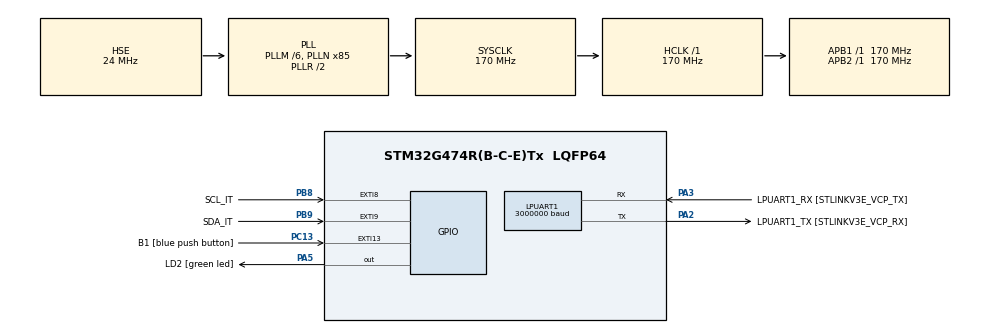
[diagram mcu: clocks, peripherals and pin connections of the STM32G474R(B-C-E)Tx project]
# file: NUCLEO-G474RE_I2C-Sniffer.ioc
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LPUART1.BaudRate=3000000
LPUART1.WordLength=UART_WORDLENGTH_8B
Mcu.Family=STM32G4
Mcu.Name=STM32G474R(B-C-E)Tx
Mcu.Package=LQFP64
NVIC.EXTI15_10_IRQn=true\:0\:0\:false\:false\:true\:true\:true\:true
NVIC.EXTI9_5_IRQn=true\:0\:0\:false\:false\:true\:true\:true\:true
NVIC.PriorityGroup=NVIC_PRIORITYGROUP_4
PA13.GPIO_Label=T_SWDIO
PA13.Mode=Trace_Asynchronous_SW
PA13.Signal=SYS_JTMS-SWDIO
PA14.GPIO_Label=T_SWCLK
PA14.Mode=Trace_Asynchronous_SW
PA14.Signal=SYS_JTCK-SWCLK
PA2.GPIO_Label=LPUART1_TX [STLINKV3E_VCP_RX]
PA2.Mode=Asynchronous
PA2.Signal=LPUART1_TX
PA3.GPIO_Label=LPUART1_RX [STLINKV3E_VCP_TX]
PA3.Mode=Asynchronous
PA3.Signal=LPUART1_RX
PA5.GPIO_Label=LD2 [green led]
PA5.Signal=GPIO_Output
PB3.GPIO_Label=T_SWO
PB3.Mode=Trace_Asynchronous_SW
PB3.Signal=SYS_JTDO-SWO
PB8-BOOT0.GPIO_Label=SCL_IT
PB8-BOOT0.Signal=GPXTI8
PB9.GPIO_Label=SDA_IT
PB9.GPIO_ModeDefaultEXTI=GPIO_MODE_IT_RISING_FALLING
PB9.Signal=GPXTI9
PC13.GPIO_Label=B1 [blue push button]
PC13.Signal=GPXTI13
PC14-OSC32_IN.Mode=LSE-External-Oscillator
PC14-OSC32_IN.Signal=RCC_OSC32_IN
PC15-OSC32_OUT.Mode=LSE-External-Oscillator
PC15-OSC32_OUT.Signal=RCC_OSC32_OUT
PF0-OSC_IN.Mode=HSE-External-Oscillator
PF0-OSC_IN.Signal=RCC_OSC_IN
PF1-OSC_OUT.Mode=HSE-External-Oscillator
PF1-OSC_OUT.Signal=RCC_OSC_OUT
ProjectManager.HeapSize=0x200
ProjectManager.StackSize=0x400
ProjectManager.TargetToolchain=STM32CubeIDE
RCC.ADC12Freq_Value=170000000
RCC.ADC345Freq_Value=170000000
RCC.AHBFreq_Value=170000000
RCC.APB1Freq_Value=170000000
RCC.APB1TimFreq_Value=170000000
RCC.APB2Freq_Value=170000000
RCC.APB2TimFreq_Value=170000000
RCC.CortexFreq_Value=170000000
RCC.EXTERNAL_CLOCK_VALUE=12288000
RCC.HCLKFreq_Value=170000000
RCC.HSE_VALUE=24000000
RCC.HSI48_VALUE=48000000
RCC.HSI_VALUE=16000000
RCC.PLLM=RCC_PLLM_DIV6
RCC.PLLN=85
RCC.PLLSourceVirtual=RCC_PLLSOURCE_HSE
RCC.RTCClockSelection=RCC_RTCCLKSOURCE_LSE
RCC.SYSCLKFreq_VALUE=170000000
RCC.SYSCLKSource=RCC_SYSCLKSOURCE_PLLCLK
RCC.USBFreq_Value=170000000
RCC.VCOOutputFreq_Value=340000000
VP_SYS_VS_DBSignals.Mode=DisableDeadBatterySignals
board=NUCLEO-G474RE

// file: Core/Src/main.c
/* USER CODE BEGIN Header */
/**
  ******************************************************************************
  * @file           : main.c
  * @brief          : Main program body
  ******************************************************************************
  * @attention
  *
  * Copyright (c) 2022 STMicroelectronics.
  * All rights reserved.
  *
  * This software is licensed under terms that can be found in the LICENSE file
  * in the root directory of this software component.
  * If no LICENSE file comes with this software, it is provided AS-IS.
  *
  ******************************************************************************
  */
/* USER CODE END Header */
#include "main.h"

/* USER CODE BEGIN Includes */

#include <string.h>
#include <stdio.h>
#include "buffer.h"

/* USER CODE END Includes */

 UART_HandleTypeDef hlpuart1;

void SystemClock_Config(void);
static void MX_GPIO_Init(void);
static void MX_LPUART1_UART_Init(void);
/* USER CODE BEGIN PFP */

#define PUTCHAR_PROTOTYPE int __io_putchar(int ch)

/* USER CODE END PFP */

int main(void)
{

  /* MCU Configuration--------------------------------------------------------*/

  /* Reset of all peripherals, Initializes the Flash interface and the Systick. */
  HAL_Init();

  /* Configure the system clock */
  SystemClock_Config();

  /* Initialize all configured peripherals */
  MX_GPIO_Init();
  MX_LPUART1_UART_Init();

  /* Infinite loop */
  while (1)
  {

  }
}

void SystemClock_Config(void)
{
  RCC_OscInitTypeDef RCC_OscInitStruct = {0};
  RCC_ClkInitTypeDef RCC_ClkInitStruct = {0};

  /** Configure the main internal regulator output voltage
  */
  HAL_PWREx_ControlVoltageScaling(PWR_REGULATOR_VOLTAGE_SCALE1_BOOST);

  /** Initializes the RCC Oscillators according to the specified parameters
  * in the RCC_OscInitTypeDef structure.
  */
  RCC_OscInitStruct.OscillatorType = RCC_OSCILLATORTYPE_HSE;
  RCC_OscInitStruct.HSEState = RCC_HSE_ON;
  RCC_OscInitStruct.PLL.PLLState = RCC_PLL_ON;
  RCC_OscInitStruct.PLL.PLLSource = RCC_PLLSOURCE_HSE;
  RCC_OscInitStruct.PLL.PLLM = RCC_PLLM_DIV6;
  RCC_OscInitStruct.PLL.PLLN = 85;
  RCC_OscInitStruct.PLL.PLLP = RCC_PLLP_DIV2;
  RCC_OscInitStruct.PLL.PLLQ = RCC_PLLQ_DIV2;
  RCC_OscInitStruct.PLL.PLLR = RCC_PLLR_DIV2;
  if (HAL_RCC_OscConfig(&RCC_OscInitStruct) != HAL_OK)
  {
    Error_Handler();
  }

  /** Initializes the CPU, AHB and APB buses clocks
  */
  RCC_ClkInitStruct.ClockType = RCC_CLOCKTYPE_HCLK|RCC_CLOCKTYPE_SYSCLK
                              |RCC_CLOCKTYPE_PCLK1|RCC_CLOCKTYPE_PCLK2;
  RCC_ClkInitStruct.SYSCLKSource = RCC_SYSCLKSOURCE_PLLCLK;
  RCC_ClkInitStruct.AHBCLKDivider = RCC_SYSCLK_DIV1;
  RCC_ClkInitStruct.APB1CLKDivider = RCC_HCLK_DIV1;
  RCC_ClkInitStruct.APB2CLKDivider = RCC_HCLK_DIV1;

  if (HAL_RCC_ClockConfig(&RCC_ClkInitStruct, FLASH_LATENCY_4) != HAL_OK)
  {
    Error_Handler();
  }
}

static void MX_LPUART1_UART_Init(void)
{

  hlpuart1.Instance = LPUART1;
  hlpuart1.Init.BaudRate = 3000000;
  hlpuart1.Init.WordLength = UART_WORDLENGTH_8B;
  hlpuart1.Init.StopBits = UART_STOPBITS_1;
  hlpuart1.Init.Parity = UART_PARITY_NONE;
  hlpuart1.Init.Mode = UART_MODE_TX_RX;
  hlpuart1.Init.HwFlowCtl = UART_HWCONTROL_NONE;
  hlpuart1.Init.OneBitSampling = UART_ONE_BIT_SAMPLE_DISABLE;
  hlpuart1.Init.ClockPrescaler = UART_PRESCALER_DIV1;
  hlpuart1.AdvancedInit.AdvFeatureInit = UART_ADVFEATURE_NO_INIT;
  if (HAL_UART_Init(&hlpuart1) != HAL_OK)
  {
    Error_Handler();
  }
  if (HAL_UARTEx_SetTxFifoThreshold(&hlpuart1, UART_TXFIFO_THRESHOLD_1_8) != HAL_OK)
  {
    Error_Handler();
  }
  if (HAL_UARTEx_SetRxFifoThreshold(&hlpuart1, UART_RXFIFO_THRESHOLD_1_8) != HAL_OK)
  {
    Error_Handler();
  }
  if (HAL_UARTEx_DisableFifoMode(&hlpuart1) != HAL_OK)
  {
    Error_Handler();
  }

}

static void MX_GPIO_Init(void)
{
  GPIO_InitTypeDef GPIO_InitStruct = {0};

  /* GPIO Ports Clock Enable */
  __HAL_RCC_GPIOC_CLK_ENABLE();
  __HAL_RCC_GPIOF_CLK_ENABLE();
  __HAL_RCC_GPIOA_CLK_ENABLE();
  __HAL_RCC_GPIOB_CLK_ENABLE();

  /*Configure GPIO pin Output Level */
  HAL_GPIO_WritePin(LD2_GPIO_Port, LD2_Pin, GPIO_PIN_RESET);

  /*Configure GPIO pin : B1_Pin */
  GPIO_InitStruct.Pin = B1_Pin;
  GPIO_InitStruct.Mode = GPIO_MODE_IT_RISING;
  GPIO_InitStruct.Pull = GPIO_NOPULL;
  HAL_GPIO_Init(B1_GPIO_Port, &GPIO_InitStruct);

  /*Configure GPIO pin : LD2_Pin */
  GPIO_InitStruct.Pin = LD2_Pin;
  GPIO_InitStruct.Mode = GPIO_MODE_OUTPUT_PP;
  GPIO_InitStruct.Pull = GPIO_NOPULL;
  GPIO_InitStruct.Speed = GPIO_SPEED_FREQ_LOW;
  HAL_GPIO_Init(LD2_GPIO_Port, &GPIO_InitStruct);

  /*Configure GPIO pin : SCL_IT_Pin */
  GPIO_InitStruct.Pin = SCL_IT_Pin;
  GPIO_InitStruct.Mode = GPIO_MODE_IT_RISING;
  GPIO_InitStruct.Pull = GPIO_NOPULL;
  HAL_GPIO_Init(SCL_IT_GPIO_Port, &GPIO_InitStruct);

  /*Configure GPIO pin : SDA_IT_Pin */
  GPIO_InitStruct.Pin = SDA_IT_Pin;
  GPIO_InitStruct.Mode = GPIO_MODE_IT_RISING_FALLING;
  GPIO_InitStruct.Pull = GPIO_NOPULL;
  HAL_GPIO_Init(SDA_IT_GPIO_Port, &GPIO_InitStruct);

  /* EXTI interrupt init*/
  HAL_NVIC_SetPriority(EXTI9_5_IRQn, 0, 0);
  HAL_NVIC_EnableIRQ(EXTI9_5_IRQn);

  HAL_NVIC_SetPriority(EXTI15_10_IRQn, 0, 0);
  HAL_NVIC_EnableIRQ(EXTI15_10_IRQn);

}

/* USER CODE BEGIN 4 */

PUTCHAR_PROTOTYPE
{
  /* Place your implementation of fputc here */
  /* e.g. write a character to the LPUART1 and Loop until the end of transmission */
  HAL_UART_Transmit(&huart2, (uint8_t *)&ch, 1, 0xFFFF);

  return ch;
}

void HAL_GPIO_EXTI_Callback(uint16_t GPIO_Pin) {

	uint8_t datum;

	if (GPIO_Pin == SCL_IT_Pin) {
		// Clock triggered; bit received
		datum = HAL_GPIO_ReadPin(SDA_GPIO_Port, SDA_Pin);
	} else if (HAL_GPIO_ReadPin(SCL_GPIO_Port, SCL_Pin)) { // SDA pin necessarily
		// START or STOP condition
		// A for START, B for STOP
		datum = HAL_GPIO_ReadPin(SDA_IT_GPIO_Port, SDA_IT_Pin) ? 'B' : 'A';
	} else {
		// Nothing interesting here...
		return;
	}

	buffer[bufferPos] = datum; // Store the received bit in the buffer

	bufferPos = (bufferPos + 1) % I2C_BUFFER_SIZE;
	if (bufferPos == bufferStart) printf("ERROR! I2C buffer too small!\r\n"); // Buffer overflow!
}

/* USER CODE END 4 */

void Error_Handler(void)
{
  __disable_irq();
  while (1)
  {
  }
}
